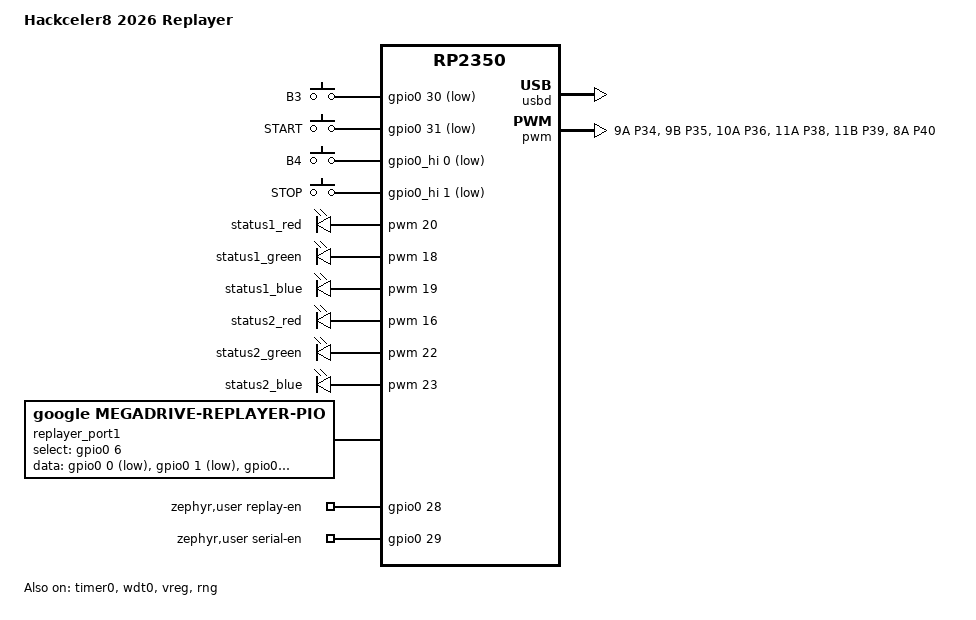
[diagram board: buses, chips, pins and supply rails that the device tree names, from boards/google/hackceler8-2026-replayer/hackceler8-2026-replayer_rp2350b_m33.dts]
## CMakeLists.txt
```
cmake_minimum_required(VERSION 3.28.0)

list(APPEND BOARD_ROOT ${CMAKE_CURRENT_SOURCE_DIR})
list(APPEND SNIPPET_ROOT ${CMAKE_CURRENT_SOURCE_DIR})

set(BOARD hackceler8-2026-replayer/rp2350b/m33)

find_package(Zephyr REQUIRED HINTS $ENV{ZEPHYR_BASE})
project(replayer LANGUAGES C)

target_include_directories(app PRIVATE include)
target_sources(app PRIVATE
  src/main.c
  src/replay_parser.c
  src/status_led.c
  src/trace_storage.c
  src/usb.c
  drivers/replayer/replayer_megadrive_pio.c
)

# src/mpu_regions.c replaces the region layout the SoC comes with, see the file
# for why. Both files define mpu_config, and every Zephyr library is linked
# with --whole-archive, so the SoC's copy has to be taken out of the build
# rather than just left for the linker to not pick.
if(CONFIG_ARM_MPU)
  set(soc_lib soc__raspberrypi__rpi_pico__rp2350)
  if(NOT TARGET ${soc_lib})
    message(FATAL_ERROR "No ${soc_lib} target: has the SoC library been renamed?")
  endif()

  get_target_property(soc_sources ${soc_lib} SOURCES)
  set(soc_mpu_regions ${soc_sources})
  list(FILTER soc_mpu_regions INCLUDE REGEX "(^|/)mpu_regions\\.c$")
  if(NOT soc_mpu_regions)
    message(FATAL_ERROR "No mpu_regions.c in ${soc_lib}: does it still define mpu_config?")
  endif()

  list(REMOVE_ITEM soc_sources ${soc_mpu_regions})
  set_property(TARGET ${soc_lib} PROPERTY SOURCES ${soc_sources})

  target_sources(app PRIVATE src/mpu_regions.c)
endif()

if(CONFIG_XIP AND NOT CONFIG_REPLAYER_DEBUG_IMAGE)
  message(FATAL_ERROR "Production images must be built with CONFIG_XIP=n, otherwise secure boot is pointless.")
endif()

find_program(PICOTOOL picotool)

# Sign the final image.
if(PICOTOOL)
  dt_chosen(flash_node PROPERTY "zephyr,flash")
  dt_reg_addr(flash_addr PATH ${flash_node})
  math(EXPR flash_addr "${flash_addr}" OUTPUT_FORMAT HEXADECIMAL)

  set(signed_elf ${KERNEL_NAME}.signed.elf)
  set(signed_bin ${KERNEL_NAME}.signed.bin)
  set(signed_uf2 ${KERNEL_NAME}.signed.uf2)
  set(signing_key ${CMAKE_CURRENT_SOURCE_DIR}/signing_private.pem)

  if (NOT CONFIG_XIP)
    # Modify the image so that it gets unpacked into the bootrom.
    set(seal_input ${KERNEL_NAME}.dram.elf)
    set(prepare_cmd COMMAND ${CMAKE_OBJCOPY} --change-section-lma '*-0x10000000' ${KERNEL_ELF_NAME} ${seal_input})
    set(comment "Signing DRAM image")
  else()
    # Nothing to do, simply sign the output.
    set(seal_input ${KERNEL_ELF_NAME})
    set(prepare_cmd)
    set(comment "Signing XIP (debug-only) image")
  endif()

  add_custom_command(
    OUTPUT
      ${ZEPHYR_BINARY_DIR}/${signed_elf}
      ${ZEPHYR_BINARY_DIR}/${signed_bin}
      ${ZEPHYR_BINARY_DIR}/${signed_uf2}
    ${prepare_cmd}
    COMMAND ${PICOTOOL} seal --quiet --clear --hash --sign ${seal_input} ${signed_elf} ${signing_key}
    COMMAND ${CMAKE_OBJCOPY} -O binary ${signed_elf} ${signed_bin}
    COMMAND ${PICOTOOL} uf2 convert --quiet ${signed_bin} ${signed_uf2} -o ${flash_addr} --family rp2350-arm-s
    DEPENDS ${logical_target_for_zephyr_elf} ${ZEPHYR_BINARY_DIR}/${KERNEL_ELF_NAME} ${signing_key}
    WORKING_DIRECTORY ${ZEPHYR_BINARY_DIR}
    COMMENT "${comment}"
  )

  add_custom_target(signed_image ALL
    DEPENDS
      ${ZEPHYR_BINARY_DIR}/${signed_elf}
      ${ZEPHYR_BINARY_DIR}/${signed_bin}
      ${ZEPHYR_BINARY_DIR}/${signed_uf2}
  )
else()
  message(WARNING "picotool was not found, so no signed image will be built and replayers with secure boot enabled WILL NOT run this image.")
endif()
```

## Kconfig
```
# Copyright (c) 2026 Google LLC
# SPDX-License-Identifier: Apache-2.0

menu "Replayer"

config TRACE_STORAGE_DISK_SECTORS
	int "Size of the trace upload drive in 512 byte sectors"
	default 384
	range 64 8192
	help
	  Size of the RAM disk which is exposed to the host as a USB mass
	  storage device, in 512 byte sectors. The default is 192 KiB.

	  The disk has to be large enough to hold the FAT metadata, the README
	  and the file the user uploads (plus whatever the host decides to
	  write on it), and it is allocated statically.

config TRACE_STORAGE_MAX_FILE_SIZE
	int "Maximum size in bytes of an uploaded file"
	default 131072
	help
	  Files bigger than this are ignored instead of being handed to the
	  parser. Nothing of that size is allocated: the file is read off the
	  drive as it is parsed, so this only bounds how long the firmware is
	  willing to spend looking at what the user dropped in.

	  The default leaves room for a file holding REPLAY_MAX_INPUTS inputs
	  spread over REPLAY_MAX_STAGES stages, which is the most the parser
	  accepts anyway.

config REPLAY_MAX_STAGES
	int "Maximum number of stages in a replay file"
	default 255
	range 1 255
	help
	  Files with more stages than this are rejected. Each stage costs
	  three struct replay_trace of statically allocated memory.

config REPLAY_MAX_INPUTS
	int "Maximum number of inputs in a replay file"
	default 16000
	range 1 65535
	help
	  Total number of controller state changes a replay file may contain,
	  across all of its stages and traces. Files with more inputs than this
	  are rejected. Each input costs 4 bytes of statically allocated
	  memory.

config TRACE_STORAGE_THREAD_STACK_SIZE
	int "Stack size of the trace storage thread"
	default 4096
	help
	  The thread which mounts the FAT volume and reads the uploaded file
	  out of it. FatFs needs a fair amount of stack.

config STATUS_LED_THREAD_STACK_SIZE
    int "Stack size of the status LED threads"
    default 4096
	help
	  The threads which manage the status LEDs, one per LED.

config REPLAYER_DEBUG_IMAGE
	bool "Build a debug image"
	default n
	help
	  Build an image which runs from XIP and enables the debug port.

endmenu

source "Kconfig.zephyr"
```

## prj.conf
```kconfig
CONFIG_CONSOLE=y
CONFIG_USE_SEGGER_RTT=y
CONFIG_RTT_CONSOLE=y
CONFIG_UART_CONSOLE=n
CONFIG_INPUT=y
CONFIG_ASSERT=n

CONFIG_PRINTK=y

# No dynamic allocation anywhere: the kernel heap is already gone with
# HEAP_MEM_POOL_SIZE=0, and this removes the libc arena, which defaults to
# "however much SRAM is left over after linking" and would make the memory the
# firmware needs depend on the build.
CONFIG_COMMON_LIBC_MALLOC_ARENA_SIZE=0

# The shell is 30 KiB of code for a prompt nothing uses. printk() still goes
# out over RTT without it. Set CONFIG_SHELL=y and CONFIG_SHELL_BACKEND_RTT=y to
# get it back.
CONFIG_SHELL=n

# Memory protection, with the region layout in src/mpu_regions.c: the image is
# mapped read only and the rest of SRAM is mapped non executable. This matters
# most for a RAM image (see ram_image.conf), where without it every byte the
# firmware can write is also a byte it can execute.
CONFIG_ARM_MPU=y

CONFIG_LOG=y
CONFIG_USBD_LOG_LEVEL_WRN=y
# The RP2350 controller driver logs an "Endpoint 0x%02x busy" error every time
# a class queues a transfer while another one is in flight, which the mass
# storage class does for every single transfer. The queued transfer is started
# as soon as the current one completes, so the message is just noise. Drop this
# line to get the driver's logs (and the noise) back.
CONFIG_UDC_DRIVER_LOG_LEVEL_OFF=y

# USB mass storage device used to upload the input to replay.
CONFIG_USB_DEVICE_STACK_NEXT=y
CONFIG_USBD_MSC_CLASS=y
# No hwinfo: the only user was the USB serial number, and reading the chip's
# identifier out of the flash means executing the Pico HAL's flash routines,
# which live in RAM. See the comment on replayer_sn in src/usb.c.
CONFIG_HWINFO=n

# FAT filesystem on the RAM disk registered by src/trace_storage.c. The disk is
# not described in the devicetree, so its name has to be given to FatFs here.
CONFIG_FILE_SYSTEM=y
CONFIG_FAT_FILESYSTEM_ELM=y
CONFIG_FILE_SYSTEM_MKFS=y
CONFIG_FS_FATFS_CUSTOM_MOUNT_POINT_COUNT=1
CONFIG_FS_FATFS_CUSTOM_MOUNT_POINTS="TRACE"
# f_setlabel(), to give the drive a name.
CONFIG_FS_FATFS_EXTRA_NATIVE_API=y
# Read back the names of the files the host creates as they were typed.
CONFIG_FS_FATFS_LFN=y
CONFIG_FS_FATFS_LFN_MODE_BSS=y
CONFIG_FS_FATFS_MAX_LFN=64
CONFIG_FS_FATFS_NUM_FILES=2
CONFIG_FS_FATFS_NUM_DIRS=2

# Formatting and mounting the volume happens on the main thread, and FatFs
# needs more stack than the default.
CONFIG_MAIN_STACK_SIZE=4096

# Task watchdog: one hardware watchdog multiplexed into per-job software
# channels, so that a thread which is legitimately parked forever (the
# storage thread waiting for the host) is not mistaken for a hung one.
# TASK_WDT only selects REBOOT, so the hardware driver has to be asked for
# explicitly.
CONFIG_WATCHDOG=y
CONFIG_TASK_WDT=y
CONFIG_TASK_WDT_MIN_TIMEOUT=500

CONFIG_LED=y
CONFIG_PWM=y

# Check for stack overflows
CONFIG_HW_STACK_PROTECTION=y

# Execute from RAM, secure boot is pointless with XIP because the QSPI bus
# is exposed and unauthenticated.
CONFIG_XIP=n

# CONFIG_REPLAYER_DEBUG_IMAGE is not set

# Don't build unsigned UF2s
CONFIG_BUILD_OUTPUT_UF2=n

CONFIG_ENTROPY_GENERATOR=y
CONFIG_STACK_CANARIES=y
CONFIG_STACK_CANARIES_STRONG=y
CONFIG_FORTIFY_SOURCE_RUN_TIME=y
```

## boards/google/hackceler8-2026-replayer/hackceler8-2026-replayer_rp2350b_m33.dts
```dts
/*
 * Copyright (c) 2026 Google LLC
 *
 * SPDX-License-Identifier: Apache-2.0
 */

/dts-v1/;

#include <raspberrypi/rpi_pico/rp2350b.dtsi>
#include <zephyr/dt-bindings/pinctrl/rpi-pico-rp2350b-pinctrl.h>
#include <raspberrypi/rpi_pico/m33.dtsi>
#include <freq.h>
#include <zephyr/dt-bindings/gpio/gpio.h>
#include <zephyr/dt-bindings/input/input-event-codes.h>
#include <zephyr/dt-bindings/led/led.h>
#include <zephyr/dt-bindings/pwm/pwm.h>
#include <raspberrypi/partitions_0x0_default_2M.dtsi>

/ {
	model = "Hackceler8 2026 Replayer";
	compatible = "google,hackceler8-2026-replayer", "raspberrypi,rp2350";

	chosen {
		zephyr,sram = &sram0;
		zephyr,flash = &flash0;
		zephyr,flash-controller = &qmi;
		zephyr,code-partition = &code_partition;
		zephyr,entropy = &rng;
	};

	aliases {
		watchdog0 = &wdt0;

		/* Pushbutton aliases */
		sw0 = &button_b3;
		sw1 = &button_start;
		sw2 = &button_b4;
		sw3 = &button_stop;

		/* Replayer alias */
		replayer0 = &replayer_port1;
	};

	/* Pushbuttons: B3, START, B4, STOP (Active Low with internal pull-up) */
	buttons {
		compatible = "gpio-keys";

		button_b3: button_b3 {
			gpios = <&gpio0 30 (GPIO_PULL_UP | GPIO_ACTIVE_LOW)>;
			label = "B3";
			zephyr,code = <INPUT_KEY_1>;
		};

		button_start: button_start {
			gpios = <&gpio0 31 (GPIO_PULL_UP | GPIO_ACTIVE_LOW)>;
			label = "START";
			zephyr,code = <INPUT_KEY_0>;
		};

		button_b4: button_b4 {
			gpios = <&gpio0_hi 0 (GPIO_PULL_UP | GPIO_ACTIVE_LOW)>;
			label = "B4";
			zephyr,code = <INPUT_KEY_2>;
		};

		button_stop: button_stop {
			gpios = <&gpio0_hi 1 (GPIO_PULL_UP | GPIO_ACTIVE_LOW)>;
			label = "STOP";
			zephyr,code = <INPUT_KEY_S>;
		};
	};

    /* RGB status LEDs */
	status1_pwm_leds: status1-pwm-leds {
	    compatible = "pwm-leds";
		status1_red: led-0 {
		    pwms = <&pwm 20 PWM_USEC(200) PWM_POLARITY_NORMAL>;
		};
		status1_green: led-1 {
		    pwms = <&pwm 18 PWM_USEC(200) PWM_POLARITY_NORMAL>;
		};
		status1_blue: led-2 {
		    pwms = <&pwm 19 PWM_USEC(200) PWM_POLARITY_NORMAL>;
		};
	};
	status2_pwm_leds: status2-pwm-leds {
	    compatible = "pwm-leds";
		status2_red: led-0 {
		    pwms = <&pwm 16 PWM_USEC(200) PWM_POLARITY_NORMAL>;
		};
		status2_green: led-1 {
		    pwms = <&pwm 22 PWM_USEC(200) PWM_POLARITY_NORMAL>;
		};
		status2_blue: led-2 {
		    pwms = <&pwm 23 PWM_USEC(200) PWM_POLARITY_NORMAL>;
		};
	};
	status_led1: status-led-1 {
	    compatible = "leds-group-multicolor";
		leds = <&status1_red>, <&status1_green>, <&status1_blue>;
		color-mapping = <LED_COLOR_ID_RED>, <LED_COLOR_ID_GREEN>, <LED_COLOR_ID_BLUE>;
	};
	status_led2: status-led-2 {
	    compatible = "leds-group-multicolor";
		leds = <&status2_red>, <&status2_green>, <&status2_blue>;
		color-mapping = <LED_COLOR_ID_RED>, <LED_COLOR_ID_GREEN>, <LED_COLOR_ID_BLUE>;
	};

	/* Sega Mega Drive Controller Port 1 PIO Replayer */
	replayer_port1: replayer_port1 {
		compatible = "google,megadrive-replayer-pio";
		pio = <&pio0>;
		select-gpios = <&gpio0 6 GPIO_ACTIVE_HIGH>;
		data-gpios = <&gpio0 0 GPIO_ACTIVE_LOW>,
			     <&gpio0 1 GPIO_ACTIVE_LOW>,
			     <&gpio0 2 GPIO_ACTIVE_LOW>,
			     <&gpio0 3 GPIO_ACTIVE_LOW>,
			     <&gpio0 4 GPIO_ACTIVE_LOW>,
			     <&gpio0 5 GPIO_ACTIVE_LOW>;
		status = "okay";
	};

	/* Application-specific GPIO definitions */
	zephyr,user {
		replay-en-gpios = <&gpio0 28 GPIO_ACTIVE_HIGH>;
		serial-en-gpios = <&gpio0 29 GPIO_ACTIVE_HIGH>;
	};
};

/* Internal 2MB QSPI Flash (RP2354B) */
&flash0 {
	reg = <0x10000000 DT_SIZE_M(2)>;
	ranges = <0x0 0x10000000 DT_SIZE_M(2)>;
};

/* Enable lower 32 GPIOs (GPIO 0-31) */
&gpio0 {
	status = "okay";
};

/* Enable upper 16 GPIOs (GPIO 32-47) */
&gpio0_hi {
	status = "okay";
};

/* Hardware Timer */
&timer0 {
	status = "okay";
};

/* Watchdog */
&wdt0 {
	status = "okay";
};

/* Core Voltage Regulator */
&vreg {
	status = "okay";
};

/* Hardware Random Number Generator */
&rng {
	status = "okay";
};

/* Programmable I/O (PIO) Blocks */
&pio0 {
	status = "okay";
};

&pio1 {
	status = "okay";
};

&pio2 {
	status = "okay";
};

/* USB 1.1 Device Controller (RP2350 internal PHY connected to USB-C) */
zephyr_udc0: &usbd {
	status = "okay";
};

/*
 * Configure the pin mux to give the PWM access to the LED pins.
 * Status1: GPIO34 G, GPIO35 B, GPIO36 R
 * Status2: GPIO38 G, GPIO39 B, GPIO40 R
 */
&pinctrl {
	pwm_rgb_default: pwm_rgb_default {
		group1 {
			pinmux = <PWM_9A_P34>, <PWM_9B_P35>, <PWM_10A_P36>,
			    <PWM_11A_P38>, <PWM_11B_P39>, <PWM_8A_P40>;
			/*
			 * The LEDs are on when the pins are low because they are connected
			 * to the cathodes.
			 */
			raspberrypi,out-override = <RP2_GPIO_OVERRIDE_INVERT>;
		};
	};
};

&pwm {
	status = "okay";
	pinctrl-0 = <&pwm_rgb_default>;
	pinctrl-names = "default";
};
```

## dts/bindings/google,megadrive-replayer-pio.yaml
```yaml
description: Sega Mega Drive Controller Port Replayer via RP2350 PIO

compatible: "google,megadrive-replayer-pio"

properties:
  pio:
    type: phandle
    required: true
    description: Phandle to the PIO controller node (e.g. &pio0)

  select-gpios:
    type: phandle-array
    required: true
    description: SELECT pin input from the Mega Drive console

  data-gpios:
    type: phandle-array
    required: true
    description: |
      Array of 6 GPIO pins connected to the Mega Drive controller output lines
      in order: B_A, C_START, DOWN, LEFT, RIGHT, UP.
```

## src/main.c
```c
#include <stdalign.h>

#include <hardware/structs/otp.h>
#include <hardware/regs/otp.h>
#include <zephyr/device.h>
#include <zephyr/drivers/gpio.h>
#include <zephyr/input/input.h>
#include <zephyr/logging/log.h>
#include <zephyr/kernel.h>
#include <zephyr/spinlock.h>
#include <zephyr/sys/__assert.h>
#include <zephyr/task_wdt/task_wdt.h>

#include "drivers/replayer/megadrive.h"
#include "replay_parser.h"
#include "status_led.h"
#include "trace.h"
#include "trace_storage.h"
#include "usb.h"

LOG_MODULE_REGISTER(main, CONFIG_LOG_DEFAULT_LEVEL);

static const struct device *const replayer_dev = DEVICE_DT_GET(DT_NODELABEL(replayer_port1));
static const k_timeout_t drain_poll_interval = K_MSEC(10);
static const k_timeout_t reset_timeout = K_MSEC(100);

static const struct gpio_dt_spec replay_en_gpio = GPIO_DT_SPEC_GET(DT_PATH(zephyr_user), replay_en_gpios);
static const struct gpio_dt_spec port1_select_gpio = GPIO_DT_SPEC_GET(DT_PATH(replayer_port1), select_gpios);

enum REPLAYER_STATE {
	/*
	 * The replayer is waiting for the user to select the next trace.
	 * Controllers are enabled. active_trace is NULL and the trace queue
	 * is empty. The status LED is blue when the player can still
         * enqueue traces, and red when they've reached the end of the current
         * file.
	 */
	REPLAYER_STATE_IDLE,

	/*
	 * The replayer is waiting for the the console to reset.
	 * Controllers are enabled. active_trace is not NULL and the active
	 * trace has the reset flag enabled. The status LED is green and
	 * blinking.
	 */
	REPLAYER_STATE_WAITING_FOR_RESET,

	/*
	 * The replayer is playing a trace and there are still inputs to play in
	 * the active trace. Either active_trace is non-NULL or there are traces
	 * in the queue. The status LED is fixed green.
	 * Controllers are disabled.
	 */
	REPLAYER_STATE_PLAYING,

	/*
	 * The replayer is waiting for the the PIO state machine to finish transmitting
	 * frames which are still queued in the state machine's TX FIFO.
	 * Controllers are disabled. Either active_trace is NULL and the queue
	 * is empty or active_trace is not NULL and the active trace waits for
	 * a reset. The status LED is fixed green.
	 */
	REPLAYER_STATE_DRAINING,
};

/* The traces the player selects are enqueued here and played in FIFO order. */
K_MSGQ_DEFINE_STATIC(trace_queue, sizeof(struct replay_trace *), 256, alignof(struct replay_trace *));

/* The file parsed out of the last upload, referenced by current_file. */
static struct replay_file uploaded_file;

/* state_lock synchronizes access to all the shared variables below. */
static struct k_spinlock state_lock;
/* State machine state, see enum REPLAYER_STATE. */
static enum REPLAYER_STATE current_state = REPLAYER_STATE_IDLE;
/*
 * The active trace is the trace that the replayer is currently playing from,
 * or that will be played after the next console reset.
 */
static const struct replay_trace *active_trace;
/* The index of the first stage where the player still hasn't selected a trace. */
static uint8_t current_stage;
/* The currently-loaded replay file uploaded over USB. */
static const struct replay_file *current_file;
/* The number of frames which have elapsed since the beginning of the active trace. */
static uint32_t current_frame;
/* The index of the first unsent input in the active trace. */
static uint32_t next_input;
/*
 * The current state of the controllers. At the start of a trace all the buttons
 * are not pressed. Later this is the button state from the latest played input.
 */
static union buttons current_controller_state;

/* Replay status LED. */
K_MSGQ_DEFINE_STATIC(replay_led_cmd_queue, sizeof(struct status_led_cmd), 4, alignof(struct status_led_cmd));
K_THREAD_DEFINE(replay_led_thread, CONFIG_STATUS_LED_THREAD_STACK_SIZE, led_thread_fn, DEVICE_DT_GET(DT_NODELABEL(status_led1)), &replay_led_cmd_queue, NULL, K_LOWEST_APPLICATION_THREAD_PRIO, 0, 0);

static void status_led_set_color(enum led_state state)
{
        k_msgq_put(&replay_led_cmd_queue, &(struct status_led_cmd){.state = state}, K_NO_WAIT);
}

/* Trace status LED */
K_MSGQ_DEFINE_STATIC(trace_led_cmd_queue, sizeof(struct status_led_cmd), 4, alignof(struct status_led_cmd));
K_THREAD_DEFINE(trace_led_thread, CONFIG_STATUS_LED_THREAD_STACK_SIZE, led_thread_fn, DEVICE_DT_GET(DT_NODELABEL(status_led2)), &trace_led_cmd_queue, NULL, K_LOWEST_APPLICATION_THREAD_PRIO, 0, 0);

static void trace_led_set_color(enum led_state state, enum led_tmp_blink blink)
{
        k_msgq_put(&trace_led_cmd_queue, &(struct status_led_cmd){.state = state, .blink = blink}, K_NO_WAIT);
}

static int32_t pio_new_input_cb(void *user_data);

/*
 * Start playing the active trace. Call only while holding state_lock.
 */
static void replayer_resume_playing_locked(void)
{
	__ASSERT(active_trace != NULL || k_msgq_num_used_get(&trace_queue) > 0,
	        "resumed playing with no playable trace");

	current_state = REPLAYER_STATE_PLAYING;
	/* Switch the state to fixed green. */
	status_led_set_color(LED_STATE_GREEN_FIXED);
	gpio_pin_set_dt(&replay_en_gpio, 1);
	megadrive_pio_start(replayer_dev);
	megadrive_pio_set_input_callback(replayer_dev, pio_new_input_cb, NULL);
}

/*
 * Start waiting for the console to reset. The current trace must wait for
 * a reset. Call only when holding state_lock.
 */
static void replayer_wait_for_reset_locked(void)
{
	__ASSERT(active_trace != NULL && trace_waits_for_reset(active_trace),
	        "waiting for reset when the trace doesn't require it");

	current_state = REPLAYER_STATE_WAITING_FOR_RESET;
	/* Switch the status LED to blinking green. */
	status_led_set_color(LED_STATE_GREEN_BLINKING);
}

/*
 * Only call while holding state_lock. Returns true when there is a trace which
 * is playable right now, false otherwise.
 */
static bool dequeue_trace_locked(void)
{
	/*
	 * We are switching to a new trace (or stopping if there are no traces
	 * left in the queue). In any case reset the per-trace state.
	 */
	current_frame = 0;
	next_input = 0;
	current_controller_state.val = 0;

	do {
		/* Check if there is something in the queue. */
		int ret = k_msgq_get(&trace_queue, &active_trace, K_NO_WAIT);
		if (ret < 0) {
			/* Nothing left in the queue, go idle. */
			active_trace = NULL;
			return false;
		}

		if (trace_waits_for_reset(active_trace)) {
			/* The new trace waits for a reset. Don't play any of its inputs just yet. */
			return false;
		}
		/* Skip empty traces that don't wait for a reset */
	} while (trace_is_empty(active_trace));

	return true;
}

static void replayer_go_idle_locked(void)
{
        current_state = REPLAYER_STATE_IDLE;
        if (current_file == NULL) {
                status_led_set_color(LED_STATE_OFF);
        } else if (current_stage >= current_file->num_stages) {
                /* We've reached the end of the file, show a red LED. */
                status_led_set_color(LED_STATE_RED_FIXED);
        } else {
                /* The player can still enqueue stages, show a blue LED. */
                status_led_set_color(LED_STATE_BLUE_FIXED);
        }
}

/* The console has just come out of reset. Begin playing the next trace. */
static void replayer_start_trace_after_reset_locked(void)
{
	if (!trace_is_empty(active_trace)) {
		/* The active trace is nonempty, start now. */
		replayer_resume_playing_locked();
		return;
	}

	/* The active trace was empty and only waited for a reset. Try to get a new one. */
	if (dequeue_trace_locked()) {
		/* The new active trace is playable immediately, start now. */
		replayer_resume_playing_locked();
		return;
	}

	if (active_trace == NULL) {
		/* The queue is empty, go idle. */
		replayer_go_idle_locked();
		return;
	}

	/*
	 * The only remaining case is that the next trace also waits for a
	 * reset, so go back to waiting.
	 */
	replayer_wait_for_reset_locked();
}

/*
 * Called when the replayer hasn't seen a rising edge on SELECT in over 100ms.
 */
static void reset_handler(struct k_work *work)
{
	k_spinlock_key_t spin_key = k_spin_lock(&state_lock);
	struct k_work_delayable *dwork = k_work_delayable_from_work(work);
	k_timeout_t reschedule_delay = reset_timeout;

	switch (current_state) {
	case REPLAYER_STATE_WAITING_FOR_RESET:
		/*
		 * The replayer was waiting for a reset, and it happened
		 * (select was high for over 100ms).
		 */
		replayer_start_trace_after_reset_locked();
		reschedule_delay = K_TIMEOUT_SUM(reset_timeout, K_MSEC(50));
		break;

	default:
		/*
		 * This can happen spuriously, don't do anything. For example
		 * it happens when the player enters the pause menu, because
		 * the game stops polling the controllers for a little bit even
		 * though the console didn't reset.
		 */
		break;
	}

	k_work_reschedule(dwork, reschedule_delay);
	k_spin_unlock(&state_lock, spin_key);
}
K_WORK_DELAYABLE_DEFINE(reset_work, reset_handler);

/*
 * Called when the replayer is in the DRAINING state and it's still waiting
 * for the state machine to finish transmitting input enqueued in the TX FIFO.
 */
static void pio_fifo_drain_handler(struct k_work *work)
{
	struct k_work_delayable *dwork = k_work_delayable_from_work(work);
	k_spinlock_key_t spin_key = k_spin_lock(&state_lock);

	/*
	 * If the replayer used to be DRAINING and a button press transitioned it back to
	 * playing, it is still possible that the queued work was cancelled after it had already
	 * been scheduled for execution. In this case the state is no longer DRAINING and this
	 * function shouldn't do anything.
	 */
	if(current_state != REPLAYER_STATE_DRAINING) {
		goto out;
	}

	/*
	 * Check if the state machine has fully played all the input we sent to
	 * it.
	 */
	if (!megadrive_pio_is_drained(replayer_dev)) {
		/* It has not yet finished, check again later. */
		k_work_reschedule(dwork, drain_poll_interval);
		goto out;
	}

	/*
	 * We are in the draining state and the state machine has fully finished
	 * playing the input. We either ran out of input completely (in which
	 * case active_trace is NULL) or the next trace wants to wait for a
	 * reset. In any case re-enable the controllers and stop the state
	 * machine.
	 */
	megadrive_pio_stop(replayer_dev);
	gpio_pin_set_dt(&replay_en_gpio, 0);

	if (active_trace == NULL) {
		/* We ran out of input, go to the idle state. */
		replayer_go_idle_locked();
	} else {
		/*
		 * The only other way to get here is to have an active trace
		 * that waits for a reset.
		 */
		__ASSERT(trace_waits_for_reset(active_trace), "TX FIFO drained while active trace doesn't wait for reset");
		replayer_wait_for_reset_locked();
	}

out:
	k_spin_unlock(&state_lock, spin_key);
}
K_WORK_DELAYABLE_DEFINE(pio_fifo_drain_work, pio_fifo_drain_handler);

/* Call only while holding state_lock. */
static void replayer_start_draining_locked(void)
{
	__ASSERT((active_trace == NULL && k_msgq_num_used_get(&trace_queue) == 0) || (active_trace != NULL && trace_waits_for_reset(active_trace)), "invalid state to start draining");

	current_state = REPLAYER_STATE_DRAINING;
	megadrive_pio_set_input_callback(replayer_dev, NULL, NULL);
	k_work_schedule(&pio_fifo_drain_work, drain_poll_interval);
}

/* Called from the TX FIFO not full ISR. */
static int32_t pio_new_input_cb(void *user_data)
{
	/* By default, signal that there is no new input. */
	int32_t ret = -1;
	k_spinlock_key_t spin_key = k_spin_lock(&state_lock);

	__ASSERT(current_state == REPLAYER_STATE_PLAYING, "console input ISR called when not playing");

	/* Try to get a new trace if necessary. */
	if (active_trace == NULL) {
		/*
		 * We just began playing or the active trace was an empty trace
		 * that only waits for reset.
		 * Try to get a new trace. If we should stop (because we need
		 * to wait for a reset or we ran out of traces) then start
		 * draining the FIFO.
		 */
		if (!dequeue_trace_locked()) {
			replayer_start_draining_locked();
			goto out;
		}
	}

	__ASSERT(next_input < active_trace->num_inputs, "trace input OOB");

	uint32_t next_input_frame = active_trace->inputs[next_input].frame_number;
	if (next_input_frame > current_frame) {
		/* Resend the previous input. */
		ret = current_controller_state.val;
	} else {
		/* We've reached the next input, send that and advance. */
		ret = active_trace->inputs[next_input].buttons.val;
		current_controller_state.val = ret;
		next_input++;
	}

	/* Increment the frame number */
	current_frame++;

	if (next_input == active_trace->num_inputs) {
		/* We've reached the end of the active trace, load the next. */
		if (!dequeue_trace_locked()) {
			replayer_start_draining_locked();
		}
	}
out:
	k_spin_unlock(&state_lock, spin_key);
	return ret;
}


/* Called when the user presses a button to enqueue a new stage. */
static void replayer_enqueue_next_stage(uint8_t trace_index)
{
	k_spinlock_key_t spin_key = k_spin_lock(&state_lock);
	/* If no file is loaded then there is nothing to do. */
	if (current_file == NULL) {
		goto out;
	}

	/* If we've reached the end of the file then there is nothing to do. */
	if (current_stage >= current_file->num_stages) {
		goto out;
	}

	const struct replay_trace *selected_trace = &current_file->stages[current_stage].traces[trace_index];
	current_stage++;

	if (trace_is_nop(selected_trace)) {
		/*
		 * If the replayer is idle the replay status LED is blue right
		 * now. If this is the last trace and it's a nop then we never
		 * go to the active state and idle gain, missing the code path
		 * where the status LED normally becomes red. So we do it here
		 * instead. */
		if (current_state == REPLAYER_STATE_IDLE && current_stage == current_file->num_stages) {
			status_led_set_color(LED_STATE_RED_FIXED);
		}
		goto out;
	}

	/* Enqueue the new trace. */
	k_msgq_put(&trace_queue, &selected_trace, K_NO_WAIT);

	switch (current_state) {
	case REPLAYER_STATE_DRAINING:
		/*
		 * We can be in the draining state either because the active
		 * trace is waiting for a reset or because the replayer ran out
		 * of queued traces to play.
		 * If there is an active trace that is waiting for reset we
		 * shouldn't start playing again immediately, but keep draining.
		 */
		if (active_trace == NULL) {
			if (trace_waits_for_reset(selected_trace)) {
				/*
				 * There was no active trace, but the newly-enqueued
				 * trace waits for a reset. In this case we should
				 * dequeue it so that the drain handler knows
				 * that it needs to transition to waiting for a
				 * reset later but otherwise let the draining continue.
				 */
				dequeue_trace_locked();
			} else {
				/*
				 * If there is no active trace and the new trace
				 * does not wait for a reset then play it
				 * immediately.
				 */
				k_work_cancel_delayable(&pio_fifo_drain_work);
				replayer_resume_playing_locked();
			}
		} else {
			__ASSERT(trace_waits_for_reset(active_trace), "draining when the active trace is not waiting for reset");
		}
		break;

	case REPLAYER_STATE_IDLE:
		__ASSERT(active_trace == NULL, "idle but active_trace is not NULL");
		/*
		 * The replayer was idle, so the selected trace will become the
		 * active trace immediately.
		 */
		if (trace_waits_for_reset(selected_trace)) {
			/*
			 * If the new active trace waits for a reset then the
			 * replayer should not start playing right away. In that case
			 * we can already dequeue the trace and go into the waiting
			 * for reset mode without doing a roundtrip through the ISR.
			 */
			dequeue_trace_locked();
			replayer_wait_for_reset_locked();
		} else {
			/* Otherwise, start playing. */
			replayer_resume_playing_locked();
		}
		break;

	default:
		/*
		 * If the replayer is waiting for reset or already playing, then
		 * we don't need to do anything.
		 */
		break;
	}

out:
	k_spin_unlock(&state_lock, spin_key);
}

/*
 * Stops the replay right now and puts the replayer back in the idle state.
 * Call only while holding state_lock.
 */
static void replayer_stop_locked(void)
{
	/* Disable the TX FIFO interrupt. */
	megadrive_pio_set_input_callback(replayer_dev, NULL, NULL);

	/* Stop the state machine without waiting for it to drain. */
	megadrive_pio_stop(replayer_dev);

	/* Re-enable the controllers. */
	gpio_pin_set_dt(&replay_en_gpio, 0);

	/* Clear all enqueued traces. */
	k_msgq_purge(&trace_queue);

	/* Clear the active trace. */
	active_trace = NULL;

	/* Reset the current stage to the first. */
	current_stage = 0;

	/* Reset the state to idle. */
	replayer_go_idle_locked();

	current_frame = 0;
	next_input = 0;
	current_controller_state.val = 0;

	/* Cancel any pending drain work */
	k_work_cancel_delayable(&pio_fifo_drain_work);
}

/*
 * Stop replaying immediately, flush the trace queue and rewind to the beginning
 * of the file.
 */
static void replayer_immediate_stop(void)
{
	k_spinlock_key_t spin_key = k_spin_lock(&state_lock);

	/* If no file is loaded then there is nothing to do. */
	if (current_file == NULL) {
		goto out;
	}

	replayer_stop_locked();

out:
	k_spin_unlock(&state_lock, spin_key);
}

/*
 * Stops whatever is being replayed and makes the replayer use the given file,
 * starting over from its first stage. Pass NULL to leave the replayer with
 * nothing to play.
 *
 * Once this returns nothing refers to the previously loaded file anymore, so
 * the caller is free to reuse the memory it lives in.
 */
static void replayer_set_file_locked(const struct replay_file *file)
{
	replayer_stop_locked();
	current_file = file;

	if (file != NULL && file->num_stages > 0) {
	        status_led_set_color(LED_STATE_BLUE_FIXED);
	} else {
	        status_led_set_color(LED_STATE_OFF);
	}
}

/*
 * Called from the trace storage thread every time the file on the USB drive
 * changes, with that file open. fp is NULL when the user deleted it.
 */
static void trace_uploaded(struct fs_file_t *fp, size_t size)
{
	int ret;

	k_spinlock_key_t spin_key = k_spin_lock(&state_lock);

	if (fp == NULL) {
		LOG_INF("The replay file was removed, nothing to play\n");
		replayer_set_file_locked(NULL);
		trace_led_set_color(LED_STATE_OFF, LED_TMP_BLINK_NONE);
		goto out_unlock;
	}

	/*
	 * Make sure the file is usable before touching anything: a malformed
	 * upload must not disturb the replay which may be going on right now.
         * Drop the lock before parsing because it could take a while.
	 */
	k_spin_unlock(&state_lock, spin_key);
	ret = replay_parser_check(fp, size);
	spin_key = k_spin_lock(&state_lock);
	bool had_file = current_file != NULL;
	if (ret < 0) {
		LOG_INF("Rejected the uploaded file (%d), keeping the current one\n", ret);
		trace_led_set_color(had_file ? LED_STATE_GREEN_FIXED : LED_STATE_OFF, LED_TMP_BLINK_RED);
		goto out_unlock;
	}

	/*
	 * The parser is about to overwrite the pools the currently loaded file
	 * lives in, so the replayer has to let go of it first. This also stops
	 * the replay, which is what we want since the inputs are changing
	 * under its feet.
	 */
	replayer_set_file_locked(NULL);

	/* Drop the lock again while (re)-parsing */
	k_spin_unlock(&state_lock, spin_key);
	ret = replay_parser_build(fp, size, &uploaded_file);
	spin_key = k_spin_lock(&state_lock);
	if (ret < 0) {
		/*
		 * The check above passed, so either the read failed or the
		 * host rewrote the file in between the two passes.
		 */
		LOG_INF("Failed to parse the uploaded file: %d\n", ret);
		trace_led_set_color(LED_STATE_OFF, LED_TMP_BLINK_RED);
		goto out_unlock;
	}

	replayer_set_file_locked(&uploaded_file);
	trace_led_set_color(LED_STATE_GREEN_FIXED, LED_TMP_BLINK_GREEN);

	LOG_INF("Loaded a replay file with %u stages\n", uploaded_file.num_stages);

out_unlock:
	k_spin_unlock(&state_lock, spin_key);
}

static void button_callback(struct input_event *evt, void *user_data)
{
	if (evt->type != INPUT_EV_KEY) {
		/* Ignore non-key events. */
		return;
	}

	if (evt->value == 0) {
		/* Ignored released keys. */
		return;
	}

	switch (evt->code) {
	case INPUT_KEY_0:
		/* Play trace 0. */
		replayer_enqueue_next_stage(0);
		break;

	case INPUT_KEY_1:
		/* Play trace 1. */
		replayer_enqueue_next_stage(1);
		break;

	case INPUT_KEY_2:
		/* Play trace 2. */
		replayer_enqueue_next_stage(2);
		break;

	case INPUT_KEY_S:
		/* Stop replaying now. */
		replayer_immediate_stop();
		break;

	default:
		break;
	}
}
INPUT_CALLBACK_DEFINE(NULL, button_callback, NULL);

static struct gpio_callback select_callback_data;

/* Called when there is a rising edge on the console's SELECT pin. */
static void select_edge_handler(const struct device *port, struct gpio_callback *cb, gpio_port_pins_t pins)
{
	k_spinlock_key_t spin_key = k_spin_lock(&state_lock);

	if (pins & BIT(port1_select_gpio.pin)) {
		/* The console did something, so it didn't reset yet. Delay the reset work. */
		k_work_reschedule(&reset_work, reset_timeout);
	}

	k_spin_unlock(&state_lock, spin_key);
}

static int replayer_configure_otp(void)
{
	const uint32_t OTP_SW_LOCK_RO = (OTP_SW_LOCK0_NSEC_VALUE_READ_ONLY << OTP_SW_LOCK0_NSEC_LSB)
		| (OTP_SW_LOCK0_SEC_VALUE_READ_ONLY << OTP_SW_LOCK0_SEC_LSB);

	/* Make the entire OTP read-only until the next reset. */
	for (uint32_t i = 0; i < ARRAY_SIZE(otp_hw->sw_lock); i++) {
		otp_hw->sw_lock[i] = OTP_SW_LOCK_RO;
	}

#ifdef CONFIG_REPLAYER_DEBUG_IMAGE
	/* Enable the debug port in debug builds. */
	otp_hw->debugen = OTP_DEBUGEN_BITS;
#endif

	/* Then lock the state of DEBUGEN until the next reset. */
	otp_hw->debugen_lock = OTP_DEBUGEN_LOCK_BITS;

	return 0;
}
SYS_INIT(replayer_configure_otp, EARLY, 0);

int main(void)
{
	int ret;

	/* Initialize the watchdog. */
	task_wdt_init(DEVICE_DT_GET(DT_NODELABEL(wdt0)));

	/*
	 * Bring up the drive the user uploads new input to. This is done
	 * before anything else so that the replayer can still be talked to
	 * over USB if the rest of the initialization fails.
	 */
	trace_storage_set_callback(trace_uploaded);

	ret = trace_storage_init();
	if (ret < 0) {
		LOG_ERR("Failed to initialize the trace storage: %d\n", ret);
		return ret;
	}

	ret = usb_start();
	if (ret < 0) {
		LOG_ERR("Failed to start USB: %d\n", ret);
		return ret;
	}

	if (!gpio_is_ready_dt(&replay_en_gpio)) {
		LOG_ERR("Replay GPIO is not ready: %s\n", replay_en_gpio.port->name);
		return -ENODEV;
	}
	gpio_pin_configure_dt(&replay_en_gpio, GPIO_OUTPUT_INACTIVE);

	if (!gpio_is_ready_dt(&port1_select_gpio)) {
		LOG_ERR("Port1 select GPIO is not ready: %s\n", port1_select_gpio.port->name);
		return -ENODEV;
	}
	gpio_pin_configure_dt(&port1_select_gpio, GPIO_INPUT);

	gpio_pin_interrupt_configure_dt(&port1_select_gpio, GPIO_INT_EDGE_RISING);
	gpio_init_callback(&select_callback_data, select_edge_handler, BIT(port1_select_gpio.pin));
	gpio_add_callback_dt(&port1_select_gpio, &select_callback_data);

	k_work_schedule(&reset_work, reset_timeout);

	return 0;
}
```

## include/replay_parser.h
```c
/*
 * Copyright (c) 2026 Google LLC
 *
 * SPDX-License-Identifier: Apache-2.0
 */

#pragma once

#include <stddef.h>
#include <stdint.h>

#include <zephyr/fs/fs.h>

#include "trace.h"

/*
 * Parser for the replay files built by plugins/builder.py.
 *
 * Every field is little endian and nothing is padded or aligned:
 *
 *   file:  u8  num_stages
 *          stage[num_stages]
 *
 *   stage: trace  (played when button 0 is pressed)
 *          trace  (played when button 1 is pressed)
 *          trace  (played when button 2 is pressed)
 *
 *   trace: u8  flags        a REPLAY_TRACE_FLAGS_* bitmask
 *          u32 num_frames
 *          frame[num_frames]
 *
 *   frame: u32 frame_number
 *          u8  controller_state[4]  (one byte per player)
 *
 * The file is read through the fs API rather than from a buffer, so the
 * firmware only ever holds one sector of it at a time. A frame becomes a
 * struct replay_input, which is half its size: frame numbers above
 * REPLAY_MAX_FRAME_NUMBER do not fit and are rejected, and so are frames which
 * drive any player but the first, since the replayer only has one controller
 * to drive.
 *
 * The parsed file refers to inputs held in a statically allocated pool, whose
 * size is capped by CONFIG_REPLAY_MAX_INPUTS and CONFIG_REPLAY_MAX_STAGES.
 */

/*
 * Checks that the file holds a well formed replay which fits in the pool,
 * without touching any state. The file has to be open for reading and size has
 * to be its size; both passes rewind it themselves. Returns 0 if the file can
 * be parsed, a negative errno otherwise.
 */
int replay_parser_check(struct fs_file_t *fp, size_t size);

/*
 * Parses the file into *out. Every check replay_parser_check() does is
 * repeated, so this is just as safe to call on untrusted data, it only returns
 * 0 for a file which is completely valid.
 *
 * This overwrites the pool the inputs live in, which means that any
 * replay_file filled in by a previous call (and every trace and input reachable
 * from it) is invalidated, whether this call succeeds or not. The caller has to
 * make sure nothing is using the old file anymore.
 */
int replay_parser_build(struct fs_file_t *fp, size_t size, struct replay_file *out);
```

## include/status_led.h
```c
#pragma once

#include <stdint.h>

#include <zephyr/kernel.h>

enum led_state {
        LED_STATE_OFF = 0,
        LED_STATE_GREEN_FIXED,
        LED_STATE_BLUE_FIXED,
        LED_STATE_RED_FIXED,

        LED_STATE_GREEN_BLINKING,

        LED_STATE_MIN_BLINKING = LED_STATE_GREEN_BLINKING,
};

enum led_tmp_blink {
        LED_TMP_BLINK_NONE = 0,
        LED_TMP_BLINK_GREEN,
        LED_TMP_BLINK_RED,
};

struct status_led_cmd {
    enum led_state state;
    enum led_tmp_blink blink;
};

extern const uint8_t *state_to_color(enum led_state state);
extern void led_thread_fn(const struct device *led, struct k_msgq *cmd_queue, void *a3);
```

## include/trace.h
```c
#pragma once

#include <stdbool.h>
#include <stdint.h>

enum {
    REPLAY_TRACE_FLAGS_WAIT_FOR_RESET = (1 << 0),

    /* Every flag defined above, to validate the flags of an untrusted trace. */
    REPLAY_TRACE_FLAGS_ALL = REPLAY_TRACE_FLAGS_WAIT_FOR_RESET,
};

union buttons {
        struct {
                uint8_t b : 1;
                uint8_t c : 1;
                uint8_t down : 1;
                uint8_t left : 1;
                uint8_t right : 1;
                uint8_t up : 1;
                uint8_t a : 1;
                uint8_t start : 1;
        };
        uint8_t val;
};

/*
 * The number of the last frame an input can be played on. Frame numbers are
 * stored in 24 bits, which is a bit more than 93 hours of play at 50 Hz (and
 * 77 at 60 Hz), far longer than any replay we care about.
 */
#define REPLAY_MAX_FRAME_NUMBER 0xFFFFFFU

/*
 * A single change of the controller state, packed into one word: the number of
 * the frame it happens on in the top 24 bits, the state of the controller the
 * replayer drives in the bottom 8.
 *
 * The replayer keeps every input of a file in RAM at once, so this halves the
 * memory a file costs compared to spelling the two fields out. It also keeps
 * every input naturally aligned, so reading one back is a single load.
 */
struct replay_input {
    union buttons buttons;
    uint32_t frame_number : 24;
};

struct replay_trace {
    uint8_t flags;
    uint16_t num_inputs;
    const struct replay_input *inputs;
};

struct replay_stage {
    struct replay_trace traces[3];
};

struct replay_file {
    uint8_t num_stages;
    const struct replay_stage *stages;
};

static inline bool trace_waits_for_reset(const struct replay_trace *t)
{
    return (t->flags & REPLAY_TRACE_FLAGS_WAIT_FOR_RESET) != 0;
}

static inline bool trace_is_empty(const struct replay_trace *t)
{
    return t->num_inputs == 0;
}

static inline bool trace_is_nop(const struct replay_trace *t)
{
    return trace_is_empty(t) && !trace_waits_for_reset(t);
}
```

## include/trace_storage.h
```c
/*
 * Copyright (c) 2026 Google LLC
 *
 * SPDX-License-Identifier: Apache-2.0
 */

#pragma once

#include <stddef.h>
#include <stdint.h>

#include <zephyr/fs/fs.h>

/*
 * Name of the disk which backs the FAT volume exposed to the host over USB
 * mass storage. It has to match one of the volume strings configured with
 * CONFIG_FS_FATFS_CUSTOM_MOUNT_POINTS and is also the disk name referenced by
 * the USB MSC logical unit.
 */
#define TRACE_STORAGE_DISK_NAME "TRACE"

/*
 * Called from the storage thread whenever the file uploaded by the user
 * changes. fp is that file, open for reading and size bytes long; it is NULL
 * when the file was removed from the drive.
 *
 * The firmware does not keep a copy of the contents, so they have to be read
 * through fp before returning: the file is closed and the volume unmounted as
 * soon as the callback is over. Note that the host can rewrite the sectors the
 * file lives in at any time, so two reads of the same offset may not return
 * the same bytes.
 */
typedef void (*trace_storage_cb_t)(struct fs_file_t *fp, size_t size);

/*
 * Formats the RAM disk which backs the USB mass storage device, populates it
 * with the README and starts watching it for uploads.
 *
 * Must be called before the USB device is enabled.
 */
int trace_storage_init(void);


/*
 * Registers a callback invoked every time the uploaded file changes. Pass NULL
 * to unregister. The callback runs in the context of the storage thread.
 */
void trace_storage_set_callback(trace_storage_cb_t cb);
```

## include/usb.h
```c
/*
 * Copyright (c) 2026 Google LLC
 *
 * SPDX-License-Identifier: Apache-2.0
 */

#pragma once

/*
 * Configures and enables the USB device. The replayer exposes a single
 * interface, a mass storage device backed by the trace storage RAM disk.
 *
 * trace_storage_init() must have been called before this.
 */
int usb_start(void);
```

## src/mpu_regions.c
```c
/*
 * Copyright (c) 2026 Google LLC
 *
 * SPDX-License-Identifier: Apache-2.0
 */

/*
 * MPU layout for the replayer.
 *
 * The SoC ships a single MPU region covering the whole of SRAM, and for a
 * CONFIG_XIP=n image Zephyr deliberately leaves that region executable (see
 * REGION_RAM_ATTR in arm_mpu_v8.h) because the code lives there too. That
 * gives up write xor execute: the parser writes into buffers which sit in
 * executable memory, and the code the bootrom verified stays writable.
 *
 * This splits SRAM in two instead:
 *
 *   __rom_region_start .. __rom_region_end   the image: read only, executable
 *   _image_ram_start   .. end of SRAM        data: writable, never executable
 *
 * For a XIP build this falls back to what the SoC does, since there the code
 * is in flash, which is mapped read only anyway.
 *
 * This file defines mpu_config, which soc/raspberrypi/rpi_pico/rp2350 defines
 * as well. Zephyr links its libraries with --whole-archive, so the two would
 * collide; CMakeLists.txt drops the SoC's file from the build.
 */

#include <hardware/regs/addressmap.h>

#include <zephyr/arch/arm/mpu/arm_mpu.h>
#include <zephyr/arch/arm/mpu/arm_mpu_mem_cfg.h>
#include <zephyr/linker/linker-defs.h>
#include <zephyr/sys/util.h>

#define RP2350_BOOTROM_REGION_SIZE KB(32)

#if !IS_ENABLED(CONFIG_XIP)

/*
 * These take the address one past the end of the region instead of a size,
 * and skip REGION_LIMIT_ADDR(): the boundaries below come from the linker, and
 * the compiler cannot mask a relocation at compile time. The masking is not
 * needed, region_init() masks both the base and the limit before writing them
 * to the MPU.
 */

/* Read only and executable: the image itself. */
#define REGION_IMAGE_ATTR(end)                                                                     \
	{                                                                                          \
		.rbar = P_RO_U_RO_Msk | NON_SHAREABLE_Msk,                                         \
		.mair_idx = MPU_MAIR_INDEX_SRAM,                                                   \
		.r_limit = (end) - 1,                                                              \
	}

/* Writable and never executable: everything else. */
#define REGION_DATA_ATTR(end)                                                                      \
	{                                                                                          \
		.rbar = NOT_EXEC | P_RW_U_NA_Msk | NON_SHAREABLE_Msk,                              \
		.mair_idx = MPU_MAIR_INDEX_SRAM,                                                   \
		.r_limit = (end) - 1,                                                              \
	}

/* Read only and nonexecutable */
#define REGION_FLASH_XN_ATTR(end)                                                                  \
	{                                                                                          \
		.rbar = NOT_EXEC | P_RO_U_NA_Msk | NON_SHAREABLE_Msk,                              \
		.mair_idx = MPU_MAIR_INDEX_FLASH,                                                  \
		.r_limit = (end) - 1,                                                              \
	}

#define IMAGE_START ((uint32_t)__rom_region_start)
#define IMAGE_END ((uint32_t)__rom_region_end)
#define DATA_START ((uint32_t)_image_ram_start)
#define DATA_END (DT_CHOSEN_SRAM_ADDR + DT_CHOSEN_SRAM_SIZE)

#endif /* !CONFIG_XIP */

static const struct arm_mpu_region mpu_regions[] = {
#if IS_ENABLED(CONFIG_RPI_PICO_USE_ROMFUNC)
	MPU_REGION_ENTRY("BOOTROM", ROM_BASE,
			 REGION_FLASH_ATTR(ROM_BASE, RP2350_BOOTROM_REGION_SIZE)),
#endif

#if IS_ENABLED(CONFIG_XIP)
	/* Flash @ CS0n, holding the code. */
	MPU_REGION_ENTRY("FLASH_0", CONFIG_FLASH_BASE_ADDRESS,
			 REGION_FLASH_ATTR(CONFIG_FLASH_BASE_ADDRESS, KB(CONFIG_FLASH_SIZE))),

	/* Main SRAM. */
	MPU_REGION_ENTRY("SRAM_0", DT_CHOSEN_SRAM_ADDR,
			 REGION_RAM_ATTR(DT_CHOSEN_SRAM_ADDR, DT_CHOSEN_SRAM_SIZE)),
#else
	MPU_REGION_ENTRY("XIP", XIP_BASE, REGION_FLASH_XN_ATTR(SRAM_BASE)),
	MPU_REGION_ENTRY("IMAGE", IMAGE_START, REGION_IMAGE_ATTR(IMAGE_END)),
	MPU_REGION_ENTRY("SRAM_DATA", DATA_START, REGION_DATA_ATTR(DATA_END)),
#endif
};

const struct arm_mpu_config mpu_config = {
	.num_regions = ARRAY_SIZE(mpu_regions),
	.mpu_regions = mpu_regions,
};
```
